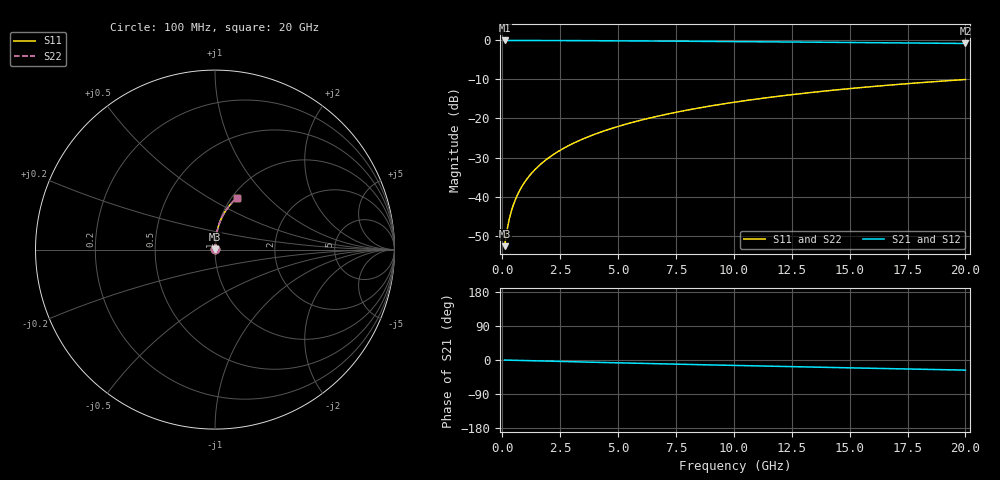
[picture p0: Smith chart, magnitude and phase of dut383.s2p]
! Touchstone file exported from HFSS 2024.1.0
!  File:  C:/UserFiles/LocalFiles/RDL_TSV_Batchsim/temp_RDL_bottom_383_1779613961.aedt
!  Generated:  05:15:58 PM May 24, 2026
!  Design:  RDL_bottom
!  Project:  temp_RDL_bottom_383_1779613961
!  Setup:  Setup1
!  Solution:  Sweep
! Variables:
!  dtsv = 10.80580581um
!  hbump = 3um
!  htsv = 63.72um
!  ldown = 312.5um
!  lrdl = 100um
!  p = 40
!  p1 = 58.04um
!  rhole = 1um
!  t = 450um
!  tdown = 4.21um
!  trdl = 3.915915916um
!  wdown = 17.57um
!  wrdl = 20um
# GHz S MA R 50.000000
! Terminal data exported
! Port[1] = RDL1_T1
! Port[2] = RDL1_T2
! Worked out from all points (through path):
!   200 points, 100 MHz to 20 GHz, reference 50 ohm
!   highest |S21| = -0.01 dB at 100 MHz (marker M1); lowest = -0.8 dB at 20 GHz (marker M2)
!   group delay of S21, straight-line fit = 3.69 ps
!   lowest |S11| = -52.7 dB at 100 MHz (marker M3), VSWR 1.00, Z = 50.2 + j0.164 ohm
!   |S11| at or under -10 dB: start of sweep to end of sweep
!   |S22| runs from -52.7 to -10.0 dB; largest |S21 - S12| = 3.7e-15
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0.1  0.002318 44.8  0.9984 -0.2  0.9984 -0.2  0.002318 44.8
! Gamma 0 0 0 0
! Port Impedance 50 0 50 0
0.2  0.003662 62.4  0.9983 -0.3  0.9983 -0.3  0.003662 62.4
0.3  0.005144 70.0  0.9982 -0.5  0.9982 -0.5  0.005144 70.0
0.4  0.006655 74.1  0.9981 -0.6  0.9981 -0.6  0.006656 74.1
0.5  0.008175 76.7  0.998 -0.8  0.998 -0.8  0.008175 76.7
0.7  0.01122 79.8  0.9979 -1.1  0.9979 -1.1  0.01122 79.8
0.8  0.01275 80.8  0.9978 -1.2  0.9978 -1.2  0.01275 80.8
1  0.01582 82.3  0.9976 -1.5  0.9976 -1.5  0.01582 82.3
1.2  0.0189 83.2  0.9974 -1.8  0.9974 -1.8  0.0189 83.2
1.4  0.022 83.9  0.9971 -2.2  0.9971 -2.2  0.022 83.9
1.7  0.02665 84.6  0.9966 -2.6  0.9966 -2.6  0.02665 84.6
2  0.03133 85.0  0.9961 -3.1  0.9961 -3.1  0.03133 85.0
2.7  0.04232 85.4  0.9946 -4.1  0.9946 -4.1  0.04232 85.4
3.5  0.055 85.4  0.9924 -5.3  0.9924 -5.3  0.05499 85.4
4.2  0.0662 85.1  0.9902 -6.3  0.9902 -6.3  0.06619 85.1
5  0.07911 84.6  0.9874 -7.5  0.9874 -7.5  0.07911 84.6
6.8  0.1085 83.1  0.9803 -10.0  0.9803 -10.0  0.1085 83.1
8.4  0.1349 81.4  0.9733 -12.2  0.9733 -12.2  0.1349 81.4
10.1  0.1629 79.4  0.9655 -14.5  0.9655 -14.5  0.1629 79.4
13.4  0.2163 75.3  0.9493 -18.7  0.9493 -18.7  0.2163 75.3
16.7  0.2674 71.1  0.9319 -22.8  0.9319 -22.8  0.2674 71.1
20  0.3154 67.0  0.9136 -26.7  0.9136 -26.7  0.3154 67.0
